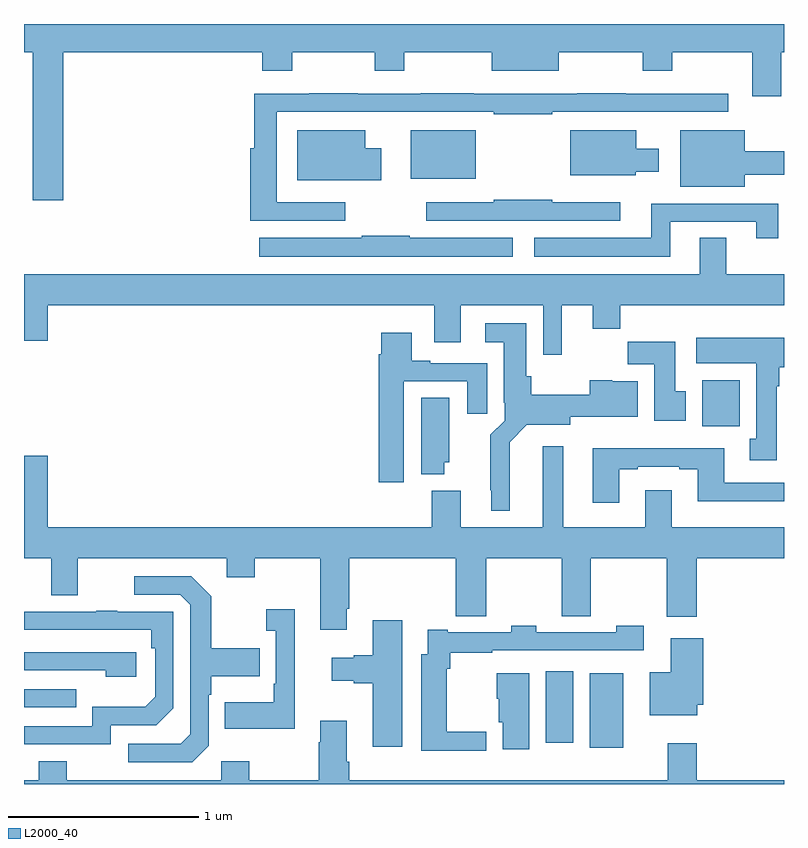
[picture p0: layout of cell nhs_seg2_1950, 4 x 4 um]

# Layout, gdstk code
import gdstk
lib = gdstk.Library(unit=1e-6, precision=1e-09)
def R(c, l, rs):  # rectangles x0, y0, x1, y1
    for r in rs: c.add(gdstk.rectangle(r[:2], r[2:], *l))
def P(c, l, *ps):  # polygons
    for p in ps: c.add(gdstk.Polygon(p, *l))
L2000_40 = (2000, 40)

nhs_seg2_1950 = lib.new_cell('nhs_seg2_1950')
R(nhs_seg2_1950, L2000_40, [(215.978,627.992,216.154,628.384), (215.747,628.017,215.89,628.393), (213,628.203,213.275,628.299), (216.569,629.684,216.766,629.926), (215.036,630.986,215.377,631.24)])
P(nhs_seg2_1950, L2000_40, [(213.206,631.652),(214.253,631.652),(214.253,631.553),(214.413,631.553),(214.413,631.652),(214.846,631.652),(214.846,631.553),(215.001,631.553),(215.001,631.652),(215.462,631.652),(215.462,631.553),(215.815,631.553),(215.815,631.652),(216.256,631.652),(216.256,631.553),(216.411,631.553),(216.411,631.652),(216.833,631.652),(216.833,631.419),(216.986,631.419),(216.986,631.652),(217,631.652),(217,631.8),(213,631.8),(213,631.652),(213.046,631.652),(213.046,630.873),(213.206,630.873)],
  [(214.69,630.861),(214.329,630.861),(214.329,631.338),(215.473,631.338),(215.473,631.326),(215.78,631.326),(215.78,631.338),(216.706,631.338),(216.706,631.434),(216.167,631.434),(216.167,631.436),(215.911,631.436),(215.911,631.434),(215.366,631.434),(215.366,631.436),(215.089,631.436),(215.089,631.434),(214.757,631.434),(214.757,631.436),(214.501,631.436),(214.501,631.434),(214.213,631.434),(214.213,631.147),(214.19,631.147),(214.19,630.765),(214.69,630.765)],
  [(216.219,631.022),(216.34,631.022),(216.34,631.144),(216.223,631.144),(216.223,631.24),(215.876,631.24),(215.876,631.004),(216.219,631.004)],
  [(214.879,631.147),(214.795,631.147),(214.795,631.24),(214.439,631.24),(214.439,630.977),(214.879,630.977)],
  [(216.793,631.007),(217,631.007),(217,631.129),(216.793,631.129),(216.793,631.24),(216.455,631.24),(216.455,630.944),(216.793,630.944)],
  [(216.139,630.862),(215.78,630.862),(215.78,630.874),(215.473,630.874),(215.473,630.861),(215.118,630.861),(215.118,630.765),(216.139,630.765)],
  [(216.4,630.759),(216.854,630.759),(216.854,630.672),(216.971,630.672),(216.971,630.855),(216.302,630.855),(216.302,630.676),(215.685,630.676),(215.685,630.575),(216.4,630.575)],
  [(215.572,630.676),(215.03,630.676),(215.03,630.686),(214.777,630.686),(214.777,630.676),(214.239,630.676),(214.239,630.575),(215.572,630.575)],
  [(215.83,630.32),(215.993,630.32),(215.993,630.196),(216.137,630.196),(216.137,630.32),(217,630.32),(217,630.484),(216.697,630.484),(216.697,630.674),(216.557,630.674),(216.557,630.484),(213,630.484),(213,630.132),(213.124,630.132),(213.124,630.32),(215.159,630.32),(215.159,630.126),(215.299,630.126),(215.299,630.32),(215.733,630.32),(215.733,630.06),(215.83,630.06)],
  [(215.557,629.6),(215.646,629.69),(215.875,629.69),(215.875,629.732),(216.229,629.732),(216.229,629.92),(216.096,629.92),(216.096,629.926),(215.978,629.926),(215.978,629.848),(215.67,629.848),(215.67,629.946),(215.644,629.946),(215.644,630.226),(215.427,630.226),(215.427,630.125),(215.525,630.125),(215.525,629.806),(215.529,629.806),(215.529,629.712),(215.455,629.638),(215.455,629.347),(215.459,629.347),(215.459,629.237),(215.557,629.237)],
  [(214.999,629.919),(215.333,629.919),(215.333,629.748),(215.437,629.748),(215.437,630.015),(215.137,630.015),(215.137,630.028),(215.041,630.028),(215.041,630.175),(214.88,630.175),(214.88,630.062),(214.868,630.062),(214.868,629.388),(214.999,629.388)],
  [(216.961,629.894),(216.976,629.894),(216.976,629.994),(217,629.994),(217,630.148),(216.537,630.148),(216.537,630.014),(216.854,630.014),(216.854,629.618),(216.821,629.618),(216.821,629.505),(216.961,629.505)],
  [(216.484,629.868),(216.427,629.868),(216.427,630.127),(216.178,630.127),(216.178,630.008),(216.317,630.008),(216.317,629.712),(216.484,629.712)],
  [(215.212,629.493),(215.239,629.493),(215.239,629.834),(215.09,629.834),(215.09,629.429),(215.212,629.429)],
  [(214.699,628.723),(214.712,628.723),(214.712,628.988),(215.273,628.988),(215.273,628.684),(215.432,628.684),(215.432,628.988),(215.83,628.988),(215.83,628.684),(215.984,628.684),(215.984,628.988),(216.382,628.988),(216.382,628.68),(216.542,628.68),(216.542,628.988),(217,628.988),(217,629.152),(216.409,629.152),(216.409,629.347),(216.269,629.347),(216.269,629.152),(215.839,629.152),(215.839,629.578),(215.729,629.578),(215.729,629.152),(215.299,629.152),(215.299,629.344),(215.147,629.344),(215.147,629.152),(213.124,629.152),(213.124,629.527),(213,629.527),(213,628.988),(213.143,628.988),(213.143,628.794),(213.283,628.794),(213.283,628.988),(214.067,628.988),(214.067,628.889),(214.215,628.889),(214.215,628.988),(214.559,628.988),(214.559,628.611),(214.699,628.611)],
  [(216.133,629.457),(216.229,629.457),(216.229,629.469),(216.449,629.469),(216.449,629.457),(216.545,629.457),(216.545,629.288),(217,629.288),(217,629.385),(216.685,629.385),(216.685,629.566),(215.993,629.566),(215.993,629.28),(216.133,629.28)],
  [(213.972,628.002),(213.972,628.271),(213.985,628.271),(213.985,628.367),(214.241,628.367),(214.241,628.515),(213.985,628.515),(213.985,628.787),(213.879,628.893),(213.579,628.893),(213.579,628.797),(213.822,628.797),(213.876,628.743),(213.876,628.062),(213.825,628.011),(213.549,628.011),(213.549,627.915),(213.885,627.915)],
  [(214.424,628.72),(214.275,628.72),(214.275,628.607),(214.326,628.607),(214.326,628.327),(214.314,628.327),(214.314,628.231),(214.057,628.231),(214.057,628.091),(214.424,628.091)],
  [(213.456,628.11),(213.696,628.11),(213.786,628.2),(213.786,628.707),(213.491,628.707),(213.491,628.712),(213.379,628.712),(213.379,628.707),(213,628.707),(213,628.611),(213.67,628.611),(213.67,628.514),(213.69,628.514),(213.69,628.26),(213.637,628.207),(213.36,628.207),(213.36,628.104),(213,628.104),(213,628.008),(213.456,628.008)],
  [(214.99,628.663),(214.835,628.663),(214.835,628.478),(214.736,628.478),(214.736,628.465),(214.62,628.465),(214.62,628.343),(214.736,628.343),(214.736,628.331),(214.835,628.331),(214.835,627.996),(214.99,627.996)],
  [(215.434,628.076),(215.224,628.076),(215.224,628.406),(215.243,628.406),(215.243,628.491),(215.465,628.491),(215.465,628.503),(216.262,628.503),(216.262,628.632),(216.117,628.632),(216.117,628.599),(215.697,628.599),(215.697,628.632),(215.565,628.632),(215.565,628.599),(215.23,628.599),(215.23,628.612),(215.126,628.612),(215.126,628.483),(215.09,628.483),(215.09,627.974),(215.434,627.974)],
  [(216.544,628.218),(216.575,628.218),(216.575,628.567),(216.404,628.567),(216.404,628.387),(216.293,628.387),(216.293,628.163),(216.544,628.163)],
  [(213.592,628.494),(213,628.494),(213,628.398),(213.431,628.398),(213.431,628.364),(213.592,628.364)],
  [(215.659,628.384),(215.489,628.384),(215.489,628.248),(215.498,628.248),(215.498,628.125),(215.519,628.125),(215.519,627.984),(215.659,627.984)],
  [(217,627.82),(216.542,627.82),(216.542,628.015),(216.389,628.015),(216.389,627.82),(214.712,627.82),(214.712,627.916),(214.699,627.916),(214.699,628.132),(214.559,628.132),(214.559,628.019),(214.552,628.019),(214.552,627.82),(214.185,627.82),(214.185,627.919),(214.038,627.919),(214.038,627.82),(213.225,627.82),(213.225,627.919),(213.077,627.919),(213.077,627.82),(213,627.82),(213,627.8),(217,627.8)])

lib.write_gds('nhs_seg2_1950.gds')
